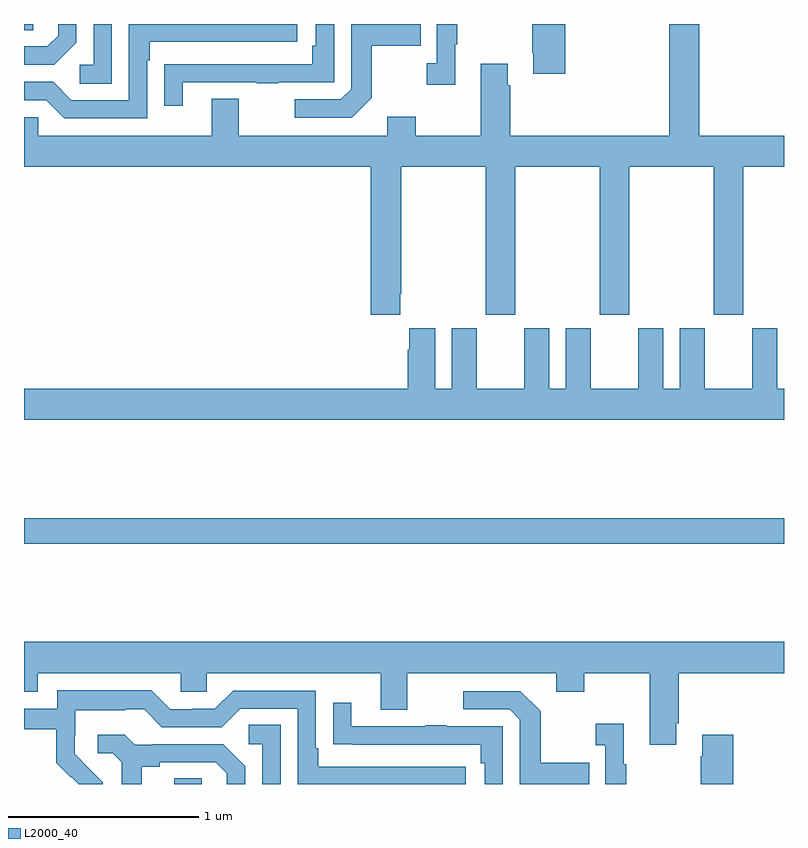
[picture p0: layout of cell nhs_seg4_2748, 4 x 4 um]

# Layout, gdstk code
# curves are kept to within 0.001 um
import gdstk
lib = gdstk.Library(unit=1e-6, precision=1e-09)
def R(c, l, rs):  # rectangles x0, y0, x1, y1
    for r in rs: c.add(gdstk.rectangle(r[:2], r[2:], *l))
def P(c, l, *ps):  # polygons
    for p in ps: c.add(gdstk.Polygon(p, *l))
L2000_40 = (2000, 40)

nhs_seg4_2748 = lib.new_cell('nhs_seg4_2748')
R(nhs_seg4_2748, L2000_40, [(255.791,798.9,255.936,798.929), (255,800.164,259,800.3), (255,802.867,255.048,802.9)])
P(nhs_seg4_2748, L2000_40, [(257.849,802.9),(257.674,802.9),(257.674,802.75),(257.681,802.75),(257.681,802.638),(257.849,802.638)],
  [(256.981,801.481),(256.986,801.481),(256.986,802.148),(257.431,802.148),(257.431,801.369),(257.586,801.369),(257.586,802.148),(258.031,802.148),(258.031,801.369),(258.186,801.369),(258.186,802.148),(258.631,802.148),(258.631,801.369),(258.786,801.369),(258.786,802.148),(259,802.148),(259,802.312),(258.555,802.312),(258.555,802.9),(258.395,802.9),(258.395,802.312),(257.558,802.312),(257.558,802.577),(257.545,802.577),(257.545,802.69),(257.405,802.69),(257.405,802.312),(257.061,802.312),(257.061,802.411),(256.913,802.411),(256.913,802.312),(256.129,802.312),(256.129,802.507),(255.989,802.507),(255.989,802.312),(255.075,802.312),(255.075,802.41),(255,802.41),(255,802.148),(256.826,802.148),(256.826,801.369),(256.981,801.369)],
  [(257.269,802.793),(257.281,802.793),(257.281,802.9),(257.172,802.9),(257.172,802.694),(257.121,802.694),(257.121,802.581),(257.269,802.581)],
  [(256.831,802.513),(256.831,802.786),(257.087,802.786),(257.087,802.9),(256.722,802.9),(256.722,802.557),(256.668,802.503),(256.425,802.503),(256.425,802.407),(256.725,802.407)],
  [(255.835,802.593),(256.225,802.593),(256.225,802.588),(256.337,802.588),(256.337,802.593),(256.632,802.593),(256.632,802.9),(256.536,802.9),(256.536,802.786),(256.516,802.786),(256.516,802.689),(255.841,802.689),(255.841,802.688),(255.739,802.688),(255.739,802.47),(255.835,802.47)],
  [(255.648,802.709),(255.661,802.709),(255.661,802.806),(256.438,802.806),(256.438,802.9),(255.552,802.9),(255.552,802.5),(255.249,802.5),(255.153,802.596),(255,802.596),(255,802.5),(255.117,802.5),(255.213,802.404),(255.648,802.404)],
  [(255.276,802.802),(255.276,802.9),(255.179,802.9),(255.179,802.839),(255.122,802.782),(255,802.782),(255,802.686),(255.16,802.686)],
  [(255.462,802.9),(255.366,802.9),(255.366,802.686),(255.294,802.686),(255.294,802.585),(255.462,802.585)],
  [(259,800.98),(258.964,800.98),(258.964,801.298),(258.833,801.298),(258.833,800.98),(258.583,800.98),(258.583,801.298),(258.452,801.298),(258.452,800.98),(258.364,800.98),(258.364,801.298),(258.233,801.298),(258.233,800.98),(257.983,800.98),(257.983,801.298),(257.852,801.298),(257.852,800.98),(257.764,800.98),(257.764,801.298),(257.633,801.298),(257.633,800.98),(257.383,800.98),(257.383,801.298),(257.252,801.298),(257.252,800.98),(257.164,800.98),(257.164,801.298),(257.027,801.298),(257.027,801.185),(257.021,801.185),(257.021,800.98),(255,800.98),(255,800.816),(259,800.816)],
  [(258.433,799.219),(258.446,799.219),(258.446,799.484),(259,799.484),(259,799.648),(255,799.648),(255,799.385),(255.073,799.385),(255.073,799.484),(255.825,799.484),(255.825,799.386),(255.963,799.386),(255.963,799.484),(256.877,799.484),(256.877,799.29),(257.017,799.29),(257.017,799.484),(257.801,799.484),(257.801,799.385),(257.949,799.385),(257.949,799.484),(258.293,799.484),(258.293,799.107),(258.433,799.107)],
  [(255.414,798.91),(255.268,799.058),(255.268,799.155),(255.27,799.155),(255.27,799.289),(255.533,799.289),(255.533,799.293),(255.633,799.293),(255.726,799.2),(256.041,799.2),(256.137,799.296),(256.44,799.296),(256.44,798.9),(257.326,798.9),(257.326,798.99),(256.549,798.99),(256.549,799.087),(256.536,799.087),(256.536,799.392),(256.101,799.392),(256.005,799.296),(255.887,799.296),(255.887,799.293),(255.771,799.293),(255.671,799.393),(255.174,799.393),(255.174,799.296),(255,799.296),(255,799.188),(255.169,799.188),(255.169,799.013),(255.246,798.936),(255.249,798.939),(255.289,798.9),(255.414,798.9)],
  [(257.975,799.011),(257.719,799.011),(257.719,799.283),(257.613,799.389),(257.313,799.389),(257.313,799.293),(257.556,799.293),(257.61,799.239),(257.61,798.9),(257.975,798.9)],
  [(257.52,799.203),(257.225,799.203),(257.225,799.208),(257.113,799.208),(257.113,799.203),(256.723,799.203),(256.723,799.327),(256.627,799.327),(256.627,799.108),(256.729,799.108),(256.729,799.107),(257.404,799.107),(257.404,799.01),(257.424,799.01),(257.424,798.9),(257.52,798.9)],
  [(258.169,799.003),(258.157,799.003),(258.157,799.216),(258.009,799.216),(258.009,799.103),(258.06,799.103),(258.06,798.9),(258.169,798.9)],
  [(256.35,799.211),(256.182,799.211),(256.182,799.11),(256.254,799.11),(256.254,798.9),(256.35,798.9)],
  [(258.732,799.159),(258.569,799.159),(258.569,799.046),(258.562,799.046),(258.562,798.9),(258.732,798.9)],
  [(255.619,798.992),(255.715,798.992),(255.715,799.014),(256.01,799.014),(256.067,798.957),(256.067,798.9),(256.164,798.9),(256.164,798.994),(256.048,799.11),(255.676,799.11),(255.676,799.107),(255.582,799.107),(255.53,799.159),(255.387,799.159),(255.387,799.062),(255.468,799.062),(255.515,799.015),(255.515,798.9),(255.619,798.9)])

lib.write_gds('nhs_seg4_2748.gds')
